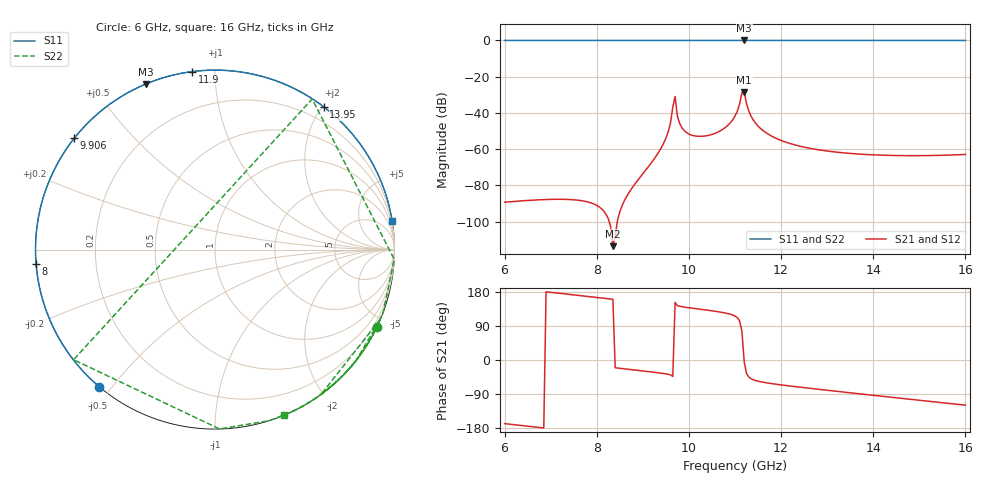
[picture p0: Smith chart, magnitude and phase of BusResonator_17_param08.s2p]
! Sonnet Data File
! From: emgraph Version : 16.54
! From Project: BusResonator_17
! Data is De-embedded
! Data File Written: 08/31/2017 18:33:07
!< HDATE 08/31/2017 16:58:22
!< MDATE 08/31/2017 17:03:00
!< PARAMS
!< BusLengthControl = 3600.0
!< END PARAMS
# GHZ S MA R 50.00000
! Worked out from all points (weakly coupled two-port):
!   798 points, 6 GHz to 16 GHz, reference 50 ohm
!   highest |S21| = -28.37 dB at 11.2 GHz (marker M1); lowest = -113.5 dB at 8.35 GHz (marker M2)
!   lowest |S11| = 0.0 dB at 11.2 GHz (marker M3)
!   |S11| at or under -10 dB: nowhere
!   |S22| runs from 0.0 to 0.0 dB; largest |S21 - S12| = 0
!   S11 on the Smith chart (normalised r, x): 6 GHz: 0.00, -0.47; 8 GHz: 0.00, -0.04; 9.906 GHz: 0.00, +0.35; 11.9 GHz: 0.00, +0.88; 13.95 GHz: 0.00, +2.02; 16 GHz: 0, +12
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6  1 -130.1  3.447e-05 -167.9  3.447e-05 -167.9  1 -25.7
!< P1 F=6.0 Eeff=(6.44857038 -2.9736e-5) Z0=(51.7893065 1.19468e-4) R=0.05083541 C=0.00240605
!< P2 F=6.0 Eeff=(6.44857038 -2.9736e-5) Z0=(51.7893065 1.19468e-4) R=0.05083541 C=0.00240605
7.7  1 -168.4  3.735e-05 169.1  3.735e-05 169.1  1 -33.3
8  1 -175.3  2.809e-05 165.0  2.809e-05 165.0  1 -34.7
8.35  1 176.8  2.105e-06 160.2  2.105e-06 160.2  1 -36.4
8.85  1 165.5  0.0001192 -26.8  0.0001192 -26.8  1 -39.0
9.35  1 154.1  0.0008531 -34.0  0.0008531 -34.0  1 -42.1
9.65  0.9999 147.3  0.01446 -43.3  0.01446 -43.3  0.9998 -53.8
9.8  1 144.0  0.005089 141.7  0.005089 141.7  1 -40.6
9.905565  1 141.6  0.003186 139.5  0.003186 139.5  1 -42.6
10.1421  1 136.3  0.002298 135.6  0.002298 135.6  1 -45.1
10.5  1 128.3  0.002551 129.8  0.002551 129.8  1 -48.7
10.85  1 120.4  0.004614 122.4  0.004614 122.4  1 -55.7
11  1 117.1  0.008188 116.0  0.008188 116.0  0.9999 -65.0
11.05  0.9999 116.0  0.01118 111.7  0.01118 111.7  0.9999 -72.5
11.2  0.9993 112.7  0.03814 -5.0  0.03814 -5.0  0.9984 57.2
11.35  1 109.3  0.008069 -49.4  0.008069 -49.4  0.9999 -28.2
11.4  1 108.2  0.006283 -52.2  0.006283 -52.2  1 -32.7
11.9  1 97.2  0.001968 -64.1  0.001968 -64.1  1 -45.4
12.7  1 79.7  0.001016 -75.8  0.001016 -75.8  1 -51.3
13.95  1 52.7  0.000702 -92.5  0.000702 -92.5  1 -57.9
14.35  1 44.2  0.0006732 -97.8  0.0006732 -97.8  1 -59.8
16  1 9.2  0.0007145 -119.2  0.0007145 -119.2  1 -67.5
